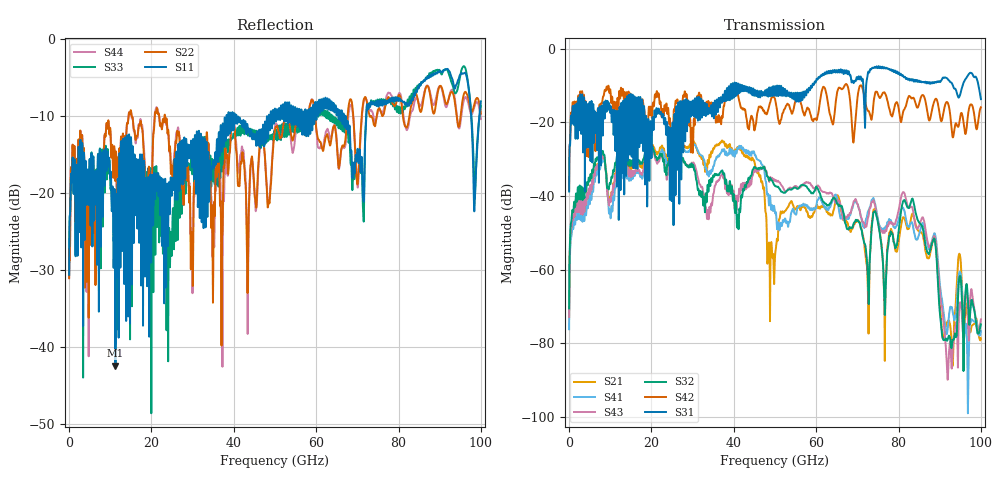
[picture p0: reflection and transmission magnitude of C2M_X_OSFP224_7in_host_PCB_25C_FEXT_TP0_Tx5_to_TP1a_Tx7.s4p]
# GHz S RI R 45
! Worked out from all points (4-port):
!   4000 points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, 25 MHz to 100 GHz, reference 45 ohm
!   strongest paths, dB at 25 MHz, 25.02 GHz, 50.02 GHz, 75.03 GHz, 100 GHz:
!     S31: -38.8, -23.8, -10.3, -5.1, -13.7
!     S42: -38.6, -21.8, -13.7, -12.6, -15.9
!     S32: -70.6, -28.9, -37.3, -47.4, -74.9
!     S43: -72.9, -30.7, -36.0, -47.0, -73.5
!     S41: -76.2, -28.3, -44.7, -46.4, -76.7
!     S21: -73.1, -26.5, -56.3, -46.9, -78.7
!   lowest |S11| = -42.5 dB at 11.28 GHz (marker M1), VSWR 1.02, Z = 45.5 + j0.451 ohm
!   |S11| at or under -10 dB: start of sweep to 38.24 GHz; 40.65 GHz to 48.51 GHz (7.862 GHz wide, 17.6 % of centre); 67.17 GHz to 72.18 GHz (5.008 GHz wide, 7.19 % of centre) (the widest 3 of 37)
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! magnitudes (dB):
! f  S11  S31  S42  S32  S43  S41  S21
! 25 MHz  -30.6  -38.8  -38.6  -70.6  -72.9  -76.2  -73.1
! 11.28 GHz  -42.5  -27.8  -16.1  -31.2  -34.6  -37.0  -34.1
! 41.35 GHz  -10.5  -12.1  -14.3  -43.7  -38.1  -26.4  -26.7
! 48.55 GHz  -9.8  -10.9  -15.7  -35.8  -35.9  -42.5  -52.7
! 76.67 GHz  -8.0  -5.3  -12.0  -72.2  -49.9  -49.1  -84.8
! 81.2 GHz  -8.2  -7.6  -16.9  -41.3  -39.0  -43.4  -45.8
! 100 GHz  -8.1  -13.7  -15.9  -74.9  -73.5  -76.7  -78.7
